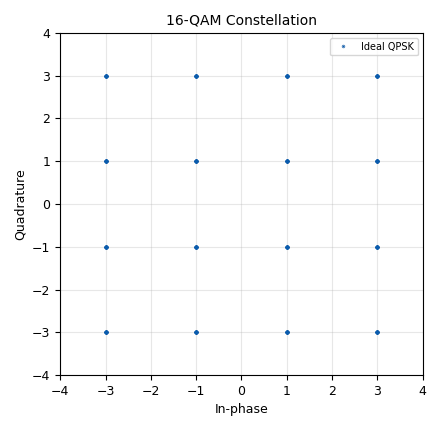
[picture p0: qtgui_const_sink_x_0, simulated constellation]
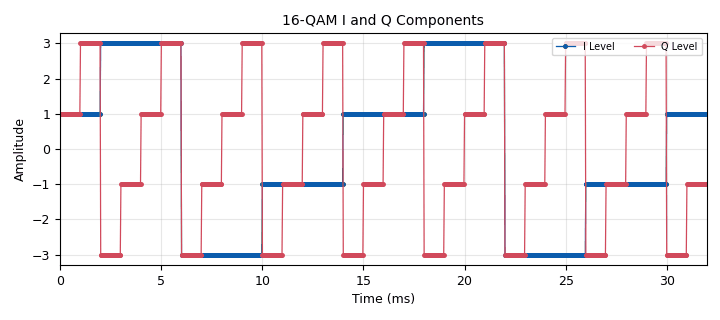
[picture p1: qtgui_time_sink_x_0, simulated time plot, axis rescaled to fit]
options:
  parameters:
    author: Dhrubjun
    generate_options: qt_gui
    id: exp7
    output_language: python
    title: Building 16-QAM from 4-PAM
  states: {}

blocks:
- name: samp_rate
  id: variable
  parameters:
    value: '32000'
  states: {}
- name: samples_per_symbol
  id: variable
  parameters:
    value: int(samp_rate/symbol_rate)
  states: {}
- name: symbol_rate
  id: variable
  parameters:
    value: '1000'
  states: {}
- name: blocks_float_to_complex_0
  id: blocks_float_to_complex
  parameters: {}
  states: {}
- name: blocks_repeat_0_0
  id: blocks_repeat
  parameters:
    interp: samples_per_symbol
    type: float
  states: {}
- name: blocks_repeat_0_0_0
  id: blocks_repeat
  parameters:
    interp: samples_per_symbol
    type: float
  states: {}
- name: blocks_throttle2_0
  id: blocks_throttle2
  parameters:
    samples_per_second: samp_rate
    type: byte
  states: {}
- name: blocks_throttle2_0_0
  id: blocks_throttle2
  parameters:
    samples_per_second: samp_rate
    type: byte
  states: {}
- name: blocks_vector_source_x_0
  id: blocks_vector_source_x
  parameters:
    alias: I Bit Source
    repeat: 'True'
    type: byte
    vector: (0,0,0,0,1,1,1,1,2,2,2,2,3,3,3,3)
  states: {}
- name: blocks_vector_source_x_0_0
  id: blocks_vector_source_x
  parameters:
    alias: Q Bit Source
    repeat: 'True'
    type: byte
    vector: (0,1,2,3,0,1,2,3,0,1,2,3,0,1,2,3)
  states: {}
- name: digital_chunks_to_symbols_xx_0
  id: digital_chunks_to_symbols_xx
  parameters:
    dimension: '1'
    in_type: byte
    out_type: float
    symbol_table: '[-3, -1, 1, 3]'
  states: {}
- name: digital_chunks_to_symbols_xx_0_0
  id: digital_chunks_to_symbols_xx
  parameters:
    dimension: '1'
    in_type: byte
    out_type: float
    symbol_table: '[-3, -1, 1, 3]'
  states: {}
- name: qtgui_const_sink_x_0
  id: qtgui_const_sink_x
  parameters:
    grid: 'True'
    label1: Ideal QPSK
    name: 16-QAM Constellation
    size: '512'
    type: complex
    width1: '5'
    xmax: '4'
    xmin: '-4'
    ymax: '4'
    ymin: '-4'
  states: {}
- name: qtgui_time_sink_x_0
  id: qtgui_time_sink_x
  parameters:
    label1: I Level
    label2: Q Level
    marker1: '0'
    marker2: '0'
    name: 16-QAM I and Q Components
    nconnections: '2'
    size: '1024'
    srate: samp_rate
    style1: '2'
    style2: '2'
    type: float
  states: {}

connections:
- [blocks_float_to_complex_0, '0', qtgui_const_sink_x_0, '0']
- [blocks_repeat_0_0, '0', blocks_float_to_complex_0, '0']
- [blocks_repeat_0_0, '0', qtgui_time_sink_x_0, '0']
- [blocks_repeat_0_0_0, '0', blocks_float_to_complex_0, '1']
- [blocks_repeat_0_0_0, '0', qtgui_time_sink_x_0, '1']
- [blocks_throttle2_0, '0', digital_chunks_to_symbols_xx_0, '0']
- [blocks_throttle2_0_0, '0', digital_chunks_to_symbols_xx_0_0, '0']
- [blocks_vector_source_x_0, '0', blocks_throttle2_0, '0']
- [blocks_vector_source_x_0_0, '0', blocks_throttle2_0_0, '0']
- [digital_chunks_to_symbols_xx_0, '0', blocks_repeat_0_0, '0']
- [digital_chunks_to_symbols_xx_0_0, '0', blocks_repeat_0_0_0, '0']

metadata:
  file_format: 1
  grc_version: 3.10.12.0
